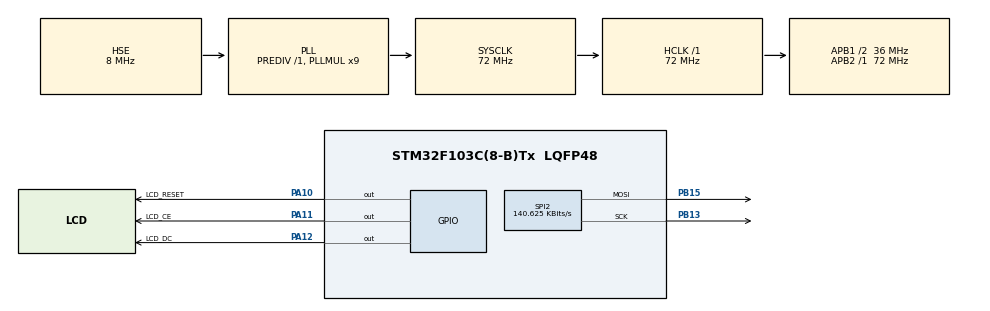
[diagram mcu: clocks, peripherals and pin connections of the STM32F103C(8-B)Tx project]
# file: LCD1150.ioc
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Dma.Request0=SPI2_TX
Dma.SPI2_TX.0.Direction=DMA_MEMORY_TO_PERIPH
Dma.SPI2_TX.0.Instance=DMA1_Channel5
Dma.SPI2_TX.0.MemDataAlignment=DMA_MDATAALIGN_BYTE
Dma.SPI2_TX.0.MemInc=DMA_MINC_ENABLE
Dma.SPI2_TX.0.Mode=DMA_NORMAL
Dma.SPI2_TX.0.PeriphDataAlignment=DMA_PDATAALIGN_BYTE
Dma.SPI2_TX.0.PeriphInc=DMA_PINC_DISABLE
Dma.SPI2_TX.0.Priority=DMA_PRIORITY_HIGH
Mcu.Family=STM32F1
Mcu.Name=STM32F103C(8-B)Tx
Mcu.Package=LQFP48
NVIC.DMA1_Channel5_IRQn=true\:0\:0\:false\:false\:true\:false\:true
NVIC.PriorityGroup=NVIC_PRIORITYGROUP_4
NVIC.TIM1_UP_IRQn=true\:0\:0\:false\:false\:true\:false\:true
NVIC.TimeBase=TIM1_UP_IRQn
NVIC.TimeBaseIP=TIM1
PA10.GPIO_Label=LCD_RESET
PA10.GPIO_Speed=GPIO_SPEED_FREQ_MEDIUM
PA10.Signal=GPIO_Output
PA11.GPIO_Label=LCD_CE
PA11.GPIO_Speed=GPIO_SPEED_FREQ_MEDIUM
PA11.Signal=GPIO_Output
PA12.GPIO_Label=LCD_DC
PA12.GPIO_Speed=GPIO_SPEED_FREQ_MEDIUM
PA12.Signal=GPIO_Output
PA13.Mode=Serial_Wire
PA13.Signal=SYS_JTMS-SWDIO
PA14.Mode=Serial_Wire
PA14.Signal=SYS_JTCK-SWCLK
PB13.GPIO_Speed=GPIO_SPEED_FREQ_HIGH
PB13.Mode=TX_Only_Simplex_Unidirect_Master
PB13.Signal=SPI2_SCK
PB15.GPIO_Speed=GPIO_SPEED_FREQ_HIGH
PB15.Mode=TX_Only_Simplex_Unidirect_Master
PB15.Signal=SPI2_MOSI
PD0-OSC_IN.Mode=HSE-External-Oscillator
PD0-OSC_IN.Signal=RCC_OSC_IN
PD1-OSC_OUT.Mode=HSE-External-Oscillator
PD1-OSC_OUT.Signal=RCC_OSC_OUT
ProjectManager.HeapSize=0x200
ProjectManager.StackSize=0x400
ProjectManager.TargetToolchain=Makefile
RCC.AHBFreq_Value=72000000
RCC.APB1CLKDivider=RCC_HCLK_DIV2
RCC.APB1Freq_Value=36000000
RCC.APB1TimFreq_Value=72000000
RCC.APB2Freq_Value=72000000
RCC.APB2TimFreq_Value=72000000
RCC.HCLKFreq_Value=72000000
RCC.PLLMUL=RCC_PLL_MUL9
RCC.PLLSourceVirtual=RCC_PLLSOURCE_HSE
RCC.SYSCLKFreq_VALUE=72000000
RCC.SYSCLKSource=RCC_SYSCLKSOURCE_PLLCLK
RCC.USBFreq_Value=72000000
SPI2.BaudRatePrescaler=SPI_BAUDRATEPRESCALER_256
SPI2.CLKPhase=SPI_PHASE_2EDGE
SPI2.CLKPolarity=SPI_POLARITY_LOW
SPI2.CalculateBaudRate=140.625 KBits/s
SPI2.Direction=SPI_DIRECTION_2LINES
SPI2.Mode=SPI_MODE_MASTER
SPI2.VirtualType=VM_MASTER
VP_SYS_VS_tim1.Mode=TIM1
board=custom

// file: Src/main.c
/* USER CODE BEGIN Header */
/**
  ******************************************************************************
  * @file           : main.c
  * @brief          : Main program body
  ******************************************************************************
  * @attention
  *
  * <h2><center>&copy; Copyright (c) 2019 STMicroelectronics.
  * All rights reserved.</center></h2>
  *
  * This software component is licensed by ST under BSD 3-Clause license,
  * the "License"; You may not use this file except in compliance with the
  * License. You may obtain a copy of the License at:
  *                        opensource.org/licenses/BSD-3-Clause
  *
  ******************************************************************************
  */
/* USER CODE END Header */

#include "main.h"
#include "dma.h"
#include "spi.h"
#include "gpio.h"

/* USER CODE BEGIN Includes */
#include "user_5110.h"
#include <stdio.h>
/* USER CODE END Includes */

void SystemClock_Config(void);

/* USER CODE BEGIN 0 */
char stringa[45];

/* USER CODE END 0 */

int main(void)
{

  /* MCU Configuration--------------------------------------------------------*/

  /* Reset of all peripherals, Initializes the Flash interface and the Systick. */
  HAL_Init();

  /* Configure the system clock */
  SystemClock_Config();

  /* Initialize all configured peripherals */
  MX_GPIO_Init();
  MX_DMA_Init();
  MX_SPI2_Init();
  /* USER CODE BEGIN 2 */

  //LCD_Reset();
  HAL_Delay(100);
  LCD_Init();
  HAL_Delay(10);
  LCD_Clear();

  /* USER CODE END 2 */

  /* Infinite loop */
  /* USER CODE BEGIN WHILE */
  HAL_Delay(60);
  sprintf(stringa,"the quick brown fox");
  LCD_Write_String(0,0,stringa);
  HAL_Delay(2000);
  LCD_Clear();
  LCD_Init();
  LCD_Test_Image();
  while (1)
  {
    for(int i=0; i<3; i++){
      HAL_Delay(100);
      LCD_Inverse_Mode();
      HAL_Delay(80);
      LCD_Direct_Mode();
    }
    LCD_Test_Image();
    HAL_Delay(300);

    //LCD_Power_Off();
    //break;

    /* USER CODE END WHILE */

  }
}

void SystemClock_Config(void)
{
  RCC_OscInitTypeDef RCC_OscInitStruct = {0};
  RCC_ClkInitTypeDef RCC_ClkInitStruct = {0};

  /** Initializes the CPU, AHB and APB busses clocks
  */
  RCC_OscInitStruct.OscillatorType = RCC_OSCILLATORTYPE_HSE;
  RCC_OscInitStruct.HSEState = RCC_HSE_ON;
  RCC_OscInitStruct.HSEPredivValue = RCC_HSE_PREDIV_DIV1;
  RCC_OscInitStruct.HSIState = RCC_HSI_ON;
  RCC_OscInitStruct.PLL.PLLState = RCC_PLL_ON;
  RCC_OscInitStruct.PLL.PLLSource = RCC_PLLSOURCE_HSE;
  RCC_OscInitStruct.PLL.PLLMUL = RCC_PLL_MUL9;
  if (HAL_RCC_OscConfig(&RCC_OscInitStruct) != HAL_OK)
  {
    Error_Handler();
  }
  /** Initializes the CPU, AHB and APB busses clocks
  */
  RCC_ClkInitStruct.ClockType = RCC_CLOCKTYPE_HCLK|RCC_CLOCKTYPE_SYSCLK
                              |RCC_CLOCKTYPE_PCLK1|RCC_CLOCKTYPE_PCLK2;
  RCC_ClkInitStruct.SYSCLKSource = RCC_SYSCLKSOURCE_PLLCLK;
  RCC_ClkInitStruct.AHBCLKDivider = RCC_SYSCLK_DIV1;
  RCC_ClkInitStruct.APB1CLKDivider = RCC_HCLK_DIV2;
  RCC_ClkInitStruct.APB2CLKDivider = RCC_HCLK_DIV1;

  if (HAL_RCC_ClockConfig(&RCC_ClkInitStruct, FLASH_LATENCY_2) != HAL_OK)
  {
    Error_Handler();
  }
}

void HAL_TIM_PeriodElapsedCallback(TIM_HandleTypeDef *htim)
{
  if (htim->Instance == TIM1) {
    HAL_IncTick();
  }
}

void Error_Handler(void)
{
}

/************************ (C) COPYRIGHT STMicroelectronics *****END OF FILE****/
